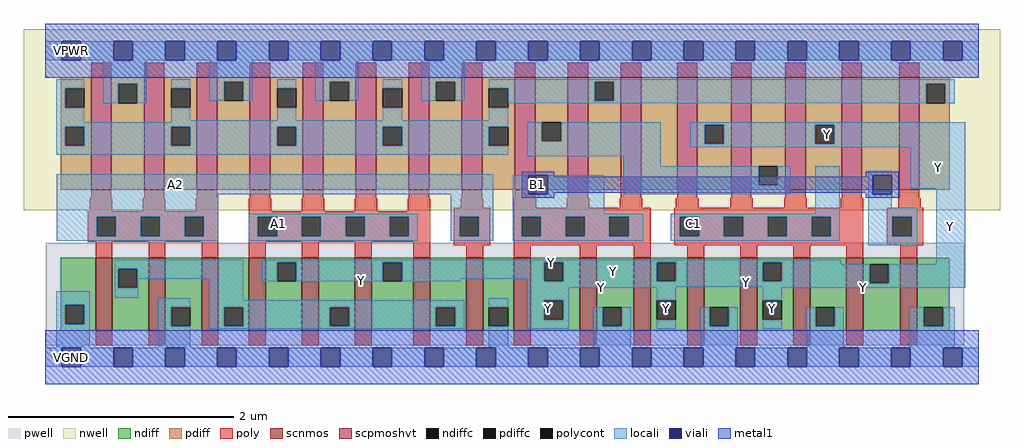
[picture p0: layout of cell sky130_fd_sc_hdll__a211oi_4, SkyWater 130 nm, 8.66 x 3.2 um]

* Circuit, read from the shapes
.subckt sky130_fd_sc_hdll__a211oi_4 A1 A2 B1 C1 VGND VNB VPB VPWR Y
XM1 n1 A2 VGND VNB sky130_fd_pr__nfet_01v8 w=0.65 l=0.15 m=4
XM2 Y A1 n1 VNB sky130_fd_pr__nfet_01v8 w=0.65 l=0.15 m=4
XM3 Y B1 VGND VNB sky130_fd_pr__nfet_01v8 w=0.65 l=0.15 m=4
XM4 VGND C1 Y VNB sky130_fd_pr__nfet_01v8 w=0.65 l=0.15 m=4
XM5 VPWR A2 n2 VPB sky130_fd_pr__pfet_01v8_hvt w=1 l=0.18 m=4
XM6 n2 A1 VPWR VPB sky130_fd_pr__pfet_01v8_hvt w=1 l=0.18 m=4
XM7 n3 B1 n2 VPB sky130_fd_pr__pfet_01v8_hvt w=1 l=0.18 m=2
XM8 n4 B1 n2 VPB sky130_fd_pr__pfet_01v8_hvt w=1 l=0.18
XM9 Y C1 n4 VPB sky130_fd_pr__pfet_01v8_hvt w=1 l=0.18
XM10 n3 C1 Y VPB sky130_fd_pr__pfet_01v8_hvt w=1 l=0.18 m=2
XM11 n5 C1 Y VPB sky130_fd_pr__pfet_01v8_hvt w=1 l=0.18
XM12 n2 B1 n5 VPB sky130_fd_pr__pfet_01v8_hvt w=1 l=0.18
.ends

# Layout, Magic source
magic
tech sky130A
magscale 1 2
<< nwell >>
rect -38 261 1694 582
<< pwell >>
rect 1 21 1631 203
rect 30 -17 64 21
<< scnmos >>
rect 89 47 119 177
rect 183 47 213 177
rect 277 47 307 177
rect 361 47 391 177
rect 455 47 485 177
rect 549 47 579 177
rect 653 47 683 177
rect 747 47 777 177
rect 831 47 861 177
rect 948 47 978 177
rect 1044 47 1074 177
rect 1139 47 1169 177
rect 1233 47 1263 177
rect 1327 47 1357 177
rect 1421 47 1451 177
rect 1517 47 1547 177
<< scpmoshvt >>
rect 81 297 117 497
rect 175 297 211 497
rect 269 297 305 497
rect 363 297 399 497
rect 457 297 493 497
rect 551 297 587 497
rect 645 297 681 497
rect 739 297 775 497
rect 833 297 869 497
rect 927 297 963 497
rect 1021 297 1057 497
rect 1121 297 1157 497
rect 1217 297 1253 497
rect 1313 297 1349 497
rect 1413 297 1449 497
rect 1515 297 1551 497
<< ndiff >>
rect 27 93 89 177
rect 27 59 35 93
rect 69 59 89 93
rect 27 47 89 59
rect 119 157 183 177
rect 119 123 129 157
rect 163 123 183 157
rect 119 47 183 123
rect 213 89 277 177
rect 213 55 223 89
rect 257 55 277 89
rect 213 47 277 55
rect 307 89 361 177
rect 307 55 317 89
rect 351 55 361 89
rect 307 47 361 55
rect 391 169 455 177
rect 391 135 411 169
rect 445 135 455 169
rect 391 47 455 135
rect 485 89 549 177
rect 485 55 505 89
rect 539 55 549 89
rect 485 47 549 55
rect 579 169 653 177
rect 579 135 599 169
rect 633 135 653 169
rect 579 47 653 135
rect 683 89 747 177
rect 683 55 693 89
rect 727 55 747 89
rect 683 47 747 55
rect 777 89 831 177
rect 777 55 787 89
rect 821 55 831 89
rect 777 47 831 55
rect 861 169 948 177
rect 861 135 885 169
rect 919 135 948 169
rect 861 101 948 135
rect 861 67 885 101
rect 919 67 948 101
rect 861 47 948 67
rect 978 89 1044 177
rect 978 55 989 89
rect 1023 55 1044 89
rect 978 47 1044 55
rect 1074 169 1139 177
rect 1074 135 1085 169
rect 1119 135 1139 169
rect 1074 101 1139 135
rect 1074 67 1085 101
rect 1119 67 1139 101
rect 1074 47 1139 67
rect 1169 89 1233 177
rect 1169 55 1179 89
rect 1213 55 1233 89
rect 1169 47 1233 55
rect 1263 169 1327 177
rect 1263 135 1273 169
rect 1307 135 1327 169
rect 1263 101 1327 135
rect 1263 67 1273 101
rect 1307 67 1327 101
rect 1263 47 1327 67
rect 1357 89 1421 177
rect 1357 55 1367 89
rect 1401 55 1421 89
rect 1357 47 1421 55
rect 1451 165 1517 177
rect 1451 131 1463 165
rect 1497 131 1517 165
rect 1451 47 1517 131
rect 1547 89 1605 177
rect 1547 55 1559 89
rect 1593 55 1605 89
rect 1547 47 1605 55
<< pdiff >>
rect 27 477 81 497
rect 27 443 35 477
rect 69 443 81 477
rect 27 409 81 443
rect 27 375 35 409
rect 69 375 81 409
rect 27 297 81 375
rect 117 485 175 497
rect 117 451 129 485
rect 163 451 175 485
rect 117 297 175 451
rect 211 477 269 497
rect 211 443 223 477
rect 257 443 269 477
rect 211 409 269 443
rect 211 375 223 409
rect 257 375 269 409
rect 211 297 269 375
rect 305 489 363 497
rect 305 455 317 489
rect 351 455 363 489
rect 305 297 363 455
rect 399 477 457 497
rect 399 443 411 477
rect 445 443 457 477
rect 399 409 457 443
rect 399 375 411 409
rect 445 375 457 409
rect 399 297 457 375
rect 493 489 551 497
rect 493 455 505 489
rect 539 455 551 489
rect 493 297 551 455
rect 587 477 645 497
rect 587 443 599 477
rect 633 443 645 477
rect 587 409 645 443
rect 587 375 599 409
rect 633 375 645 409
rect 587 297 645 375
rect 681 489 739 497
rect 681 455 693 489
rect 727 455 739 489
rect 681 297 739 455
rect 775 477 833 497
rect 775 443 787 477
rect 821 443 833 477
rect 775 409 833 443
rect 775 375 787 409
rect 821 375 833 409
rect 775 297 833 375
rect 869 417 927 497
rect 869 383 881 417
rect 915 383 927 417
rect 869 297 927 383
rect 963 489 1021 497
rect 963 455 975 489
rect 1009 455 1021 489
rect 963 297 1021 455
rect 1057 297 1121 497
rect 1157 413 1217 497
rect 1157 379 1170 413
rect 1204 379 1217 413
rect 1157 297 1217 379
rect 1253 339 1313 497
rect 1253 305 1266 339
rect 1300 305 1313 339
rect 1253 297 1313 305
rect 1349 413 1413 497
rect 1349 379 1366 413
rect 1400 379 1413 413
rect 1349 297 1413 379
rect 1449 297 1515 497
rect 1551 485 1605 497
rect 1551 451 1563 485
rect 1597 451 1605 485
rect 1551 297 1605 451
<< ndiffc >>
rect 35 59 69 93
rect 129 123 163 157
rect 223 55 257 89
rect 317 55 351 89
rect 411 135 445 169
rect 505 55 539 89
rect 599 135 633 169
rect 693 55 727 89
rect 787 55 821 89
rect 885 135 919 169
rect 885 67 919 101
rect 989 55 1023 89
rect 1085 135 1119 169
rect 1085 67 1119 101
rect 1179 55 1213 89
rect 1273 135 1307 169
rect 1273 67 1307 101
rect 1367 55 1401 89
rect 1463 131 1497 165
rect 1559 55 1593 89
<< pdiffc >>
rect 35 443 69 477
rect 35 375 69 409
rect 129 451 163 485
rect 223 443 257 477
rect 223 375 257 409
rect 317 455 351 489
rect 411 443 445 477
rect 411 375 445 409
rect 505 455 539 489
rect 599 443 633 477
rect 599 375 633 409
rect 693 455 727 489
rect 787 443 821 477
rect 787 375 821 409
rect 881 383 915 417
rect 975 455 1009 489
rect 1170 379 1204 413
rect 1266 305 1300 339
rect 1366 379 1400 413
rect 1563 451 1597 485
<< poly >>
rect 81 497 117 523
rect 175 497 211 523
rect 269 497 305 523
rect 363 497 399 523
rect 457 497 493 523
rect 551 497 587 523
rect 645 497 681 523
rect 739 497 775 523
rect 833 497 869 523
rect 927 497 963 523
rect 1021 497 1057 523
rect 1121 497 1157 523
rect 1217 497 1253 523
rect 1313 497 1349 523
rect 1413 497 1449 523
rect 1515 497 1551 523
rect 81 282 117 297
rect 175 282 211 297
rect 269 282 305 297
rect 363 282 399 297
rect 457 282 493 297
rect 551 282 587 297
rect 645 282 681 297
rect 739 282 775 297
rect 833 282 869 297
rect 927 282 963 297
rect 1021 282 1057 297
rect 1121 282 1157 297
rect 1217 282 1253 297
rect 1313 282 1349 297
rect 1413 282 1449 297
rect 1515 282 1551 297
rect 79 259 119 282
rect 173 259 213 282
rect 267 259 307 282
rect 75 249 307 259
rect 75 215 91 249
rect 125 215 169 249
rect 203 215 247 249
rect 281 215 307 249
rect 75 205 307 215
rect 89 177 119 205
rect 183 177 213 205
rect 277 177 307 205
rect 361 259 401 282
rect 455 259 495 282
rect 549 259 589 282
rect 643 259 683 282
rect 737 265 777 282
rect 831 265 871 282
rect 925 265 965 282
rect 1019 265 1059 282
rect 1119 265 1159 282
rect 1215 265 1255 282
rect 1311 265 1351 282
rect 1411 265 1451 282
rect 1513 265 1553 282
rect 361 249 683 259
rect 361 215 377 249
rect 411 215 455 249
rect 489 215 533 249
rect 567 215 611 249
rect 645 215 683 249
rect 361 205 683 215
rect 361 177 391 205
rect 455 177 485 205
rect 549 177 579 205
rect 653 177 683 205
rect 725 249 789 265
rect 725 215 735 249
rect 769 215 789 249
rect 725 199 789 215
rect 831 249 1074 265
rect 831 215 845 249
rect 879 215 923 249
rect 957 215 1001 249
rect 1035 215 1074 249
rect 831 199 1074 215
rect 1116 249 1451 265
rect 1116 215 1126 249
rect 1160 215 1204 249
rect 1238 215 1282 249
rect 1316 215 1360 249
rect 1394 215 1451 249
rect 1116 199 1451 215
rect 1493 249 1558 265
rect 1493 215 1503 249
rect 1537 215 1558 249
rect 1493 199 1558 215
rect 747 177 777 199
rect 831 177 861 199
rect 948 177 978 199
rect 1044 177 1074 199
rect 1139 177 1169 199
rect 1233 177 1263 199
rect 1327 177 1357 199
rect 1421 177 1451 199
rect 1517 177 1547 199
rect 89 21 119 47
rect 183 21 213 47
rect 277 21 307 47
rect 361 21 391 47
rect 455 21 485 47
rect 549 21 579 47
rect 653 21 683 47
rect 747 21 777 47
rect 831 21 861 47
rect 948 21 978 47
rect 1044 21 1074 47
rect 1139 21 1169 47
rect 1233 21 1263 47
rect 1327 21 1357 47
rect 1421 21 1451 47
rect 1517 21 1547 47
<< polycont >>
rect 91 215 125 249
rect 169 215 203 249
rect 247 215 281 249
rect 377 215 411 249
rect 455 215 489 249
rect 533 215 567 249
rect 611 215 645 249
rect 735 215 769 249
rect 845 215 879 249
rect 923 215 957 249
rect 1001 215 1035 249
rect 1126 215 1160 249
rect 1204 215 1238 249
rect 1282 215 1316 249
rect 1360 215 1394 249
rect 1503 215 1537 249
<< locali >>
rect 0 527 29 561
rect 63 527 121 561
rect 155 527 213 561
rect 247 527 305 561
rect 339 527 397 561
rect 431 527 489 561
rect 523 527 581 561
rect 615 527 673 561
rect 707 527 765 561
rect 799 527 857 561
rect 891 527 949 561
rect 983 527 1041 561
rect 1075 527 1133 561
rect 1167 527 1225 561
rect 1259 527 1317 561
rect 1351 527 1409 561
rect 1443 527 1501 561
rect 1535 527 1593 561
rect 1627 527 1656 561
rect 19 477 69 493
rect 19 443 35 477
rect 103 485 179 527
rect 103 451 129 485
rect 163 451 179 485
rect 223 477 257 493
rect 19 417 69 443
rect 291 489 367 527
rect 291 455 317 489
rect 351 455 367 489
rect 411 477 445 493
rect 223 421 257 443
rect 479 489 555 527
rect 479 455 505 489
rect 539 455 555 489
rect 599 477 633 493
rect 411 421 445 443
rect 667 489 743 527
rect 667 455 693 489
rect 727 455 743 489
rect 787 489 1614 493
rect 787 477 975 489
rect 599 421 633 443
rect 821 455 975 477
rect 1009 485 1614 489
rect 1009 455 1563 485
rect 821 451 1563 455
rect 1597 451 1614 485
rect 787 421 821 443
rect 223 417 821 421
rect 19 409 821 417
rect 19 375 35 409
rect 69 375 223 409
rect 257 375 411 409
rect 445 375 599 409
rect 633 375 787 409
rect 19 359 821 375
rect 855 383 881 417
rect 915 383 1092 417
rect 855 357 1092 383
rect 1144 413 1632 417
rect 1144 379 1170 413
rect 1204 379 1366 413
rect 1400 379 1632 413
rect 1144 373 1632 379
rect 1026 339 1092 357
rect 20 289 795 325
rect 20 249 307 289
rect 20 215 91 249
rect 125 215 169 249
rect 203 215 247 249
rect 281 215 307 249
rect 20 207 307 215
rect 361 249 661 255
rect 361 215 377 249
rect 411 215 455 249
rect 489 215 533 249
rect 567 215 611 249
rect 645 215 661 249
rect 361 207 661 215
rect 719 249 795 289
rect 719 215 735 249
rect 769 215 795 249
rect 719 207 795 215
rect 829 289 857 323
rect 891 289 992 323
rect 1026 305 1266 339
rect 1300 305 1322 339
rect 1026 289 1322 305
rect 829 255 992 289
rect 1366 255 1410 339
rect 829 249 1061 255
rect 829 215 845 249
rect 879 215 923 249
rect 957 215 1001 249
rect 1035 215 1061 249
rect 829 207 1061 215
rect 1110 249 1410 255
rect 1110 215 1126 249
rect 1160 215 1204 249
rect 1238 215 1282 249
rect 1316 215 1360 249
rect 1394 215 1410 249
rect 1110 207 1410 215
rect 1460 323 1502 331
rect 1460 289 1468 323
rect 1536 299 1632 373
rect 1460 265 1502 289
rect 1460 249 1547 265
rect 1460 215 1503 249
rect 1537 215 1547 249
rect 1460 199 1547 215
rect 123 157 351 173
rect 123 123 129 157
rect 163 139 351 157
rect 163 123 165 139
rect 19 93 79 117
rect 123 106 165 123
rect 19 59 35 93
rect 69 59 79 93
rect 19 17 79 59
rect 200 89 257 105
rect 200 55 223 89
rect 200 17 257 55
rect 291 101 351 139
rect 385 169 1411 173
rect 385 135 411 169
rect 445 135 599 169
rect 633 139 885 169
rect 633 135 736 139
rect 855 135 885 139
rect 919 135 1085 169
rect 1119 135 1273 169
rect 1307 165 1411 169
rect 1581 165 1632 299
rect 1307 135 1463 165
rect 855 131 1463 135
rect 1497 131 1632 165
rect 855 125 1632 131
rect 855 123 1119 125
rect 291 89 743 101
rect 291 55 317 89
rect 351 55 505 89
rect 539 55 693 89
rect 727 55 743 89
rect 291 51 743 55
rect 787 89 821 105
rect 787 17 821 55
rect 855 101 929 123
rect 855 67 885 101
rect 919 67 929 101
rect 1085 101 1119 123
rect 855 51 929 67
rect 973 55 989 89
rect 1023 55 1039 89
rect 973 17 1039 55
rect 1273 123 1632 125
rect 1273 101 1307 123
rect 1085 51 1119 67
rect 1163 55 1179 89
rect 1213 55 1229 89
rect 1163 17 1229 55
rect 1273 51 1307 67
rect 1351 55 1367 89
rect 1401 55 1417 89
rect 1351 17 1417 55
rect 1533 55 1559 89
rect 1593 55 1614 89
rect 1533 17 1614 55
rect 0 -17 29 17
rect 63 -17 121 17
rect 155 -17 213 17
rect 247 -17 305 17
rect 339 -17 397 17
rect 431 -17 489 17
rect 523 -17 581 17
rect 615 -17 673 17
rect 707 -17 765 17
rect 799 -17 857 17
rect 891 -17 949 17
rect 983 -17 1041 17
rect 1075 -17 1133 17
rect 1167 -17 1225 17
rect 1259 -17 1317 17
rect 1351 -17 1409 17
rect 1443 -17 1501 17
rect 1535 -17 1593 17
rect 1627 -17 1656 17
<< viali >>
rect 29 527 63 561
rect 121 527 155 561
rect 213 527 247 561
rect 305 527 339 561
rect 397 527 431 561
rect 489 527 523 561
rect 581 527 615 561
rect 673 527 707 561
rect 765 527 799 561
rect 857 527 891 561
rect 949 527 983 561
rect 1041 527 1075 561
rect 1133 527 1167 561
rect 1225 527 1259 561
rect 1317 527 1351 561
rect 1409 527 1443 561
rect 1501 527 1535 561
rect 1593 527 1627 561
rect 857 289 891 323
rect 1468 289 1502 323
rect 29 -17 63 17
rect 121 -17 155 17
rect 213 -17 247 17
rect 305 -17 339 17
rect 397 -17 431 17
rect 489 -17 523 17
rect 581 -17 615 17
rect 673 -17 707 17
rect 765 -17 799 17
rect 857 -17 891 17
rect 949 -17 983 17
rect 1041 -17 1075 17
rect 1133 -17 1167 17
rect 1225 -17 1259 17
rect 1317 -17 1351 17
rect 1409 -17 1443 17
rect 1501 -17 1535 17
rect 1593 -17 1627 17
<< metal1 >>
rect 0 561 1656 592
rect 0 527 29 561
rect 63 527 121 561
rect 155 527 213 561
rect 247 527 305 561
rect 339 527 397 561
rect 431 527 489 561
rect 523 527 581 561
rect 615 527 673 561
rect 707 527 765 561
rect 799 527 857 561
rect 891 527 949 561
rect 983 527 1041 561
rect 1075 527 1133 561
rect 1167 527 1225 561
rect 1259 527 1317 561
rect 1351 527 1409 561
rect 1443 527 1501 561
rect 1535 527 1593 561
rect 1627 527 1656 561
rect 0 496 1656 527
rect 845 323 903 329
rect 845 289 857 323
rect 891 320 903 323
rect 1456 323 1514 329
rect 1456 320 1468 323
rect 891 292 1468 320
rect 891 289 903 292
rect 845 283 903 289
rect 1456 289 1468 292
rect 1502 289 1514 323
rect 1456 283 1514 289
rect 0 17 1656 48
rect 0 -17 29 17
rect 63 -17 121 17
rect 155 -17 213 17
rect 247 -17 305 17
rect 339 -17 397 17
rect 431 -17 489 17
rect 523 -17 581 17
rect 615 -17 673 17
rect 707 -17 765 17
rect 799 -17 857 17
rect 891 -17 949 17
rect 983 -17 1041 17
rect 1075 -17 1133 17
rect 1167 -17 1225 17
rect 1259 -17 1317 17
rect 1351 -17 1409 17
rect 1443 -17 1501 17
rect 1535 -17 1593 17
rect 1627 -17 1656 17
rect 0 -48 1656 -17
<< labels >>
flabel locali s 214 289 248 323 0 FreeSans 340 0 0 0 A2
port 2 nsew signal input
flabel locali s 397 221 431 255 0 FreeSans 340 0 0 0 A1
port 1 nsew signal input
flabel locali s 1133 221 1167 255 0 FreeSans 340 0 0 0 C1
port 4 nsew signal input
flabel locali s 1581 165 1632 299 0 FreeSans 340 0 0 0 Y
port 9 nsew signal output
flabel metal1 s 857 289 891 323 0 FreeSans 400 0 0 0 B1
port 3 nsew signal input
flabel metal1 s 30 527 64 561 0 FreeSans 200 0 0 0 VPWR
port 8 nsew power bidirectional
flabel metal1 s 30 -17 64 17 0 FreeSans 200 0 0 0 VGND
port 5 nsew ground bidirectional
flabel pwell s 30 -17 64 17 0 FreeSans 200 0 0 0 VNB
port 6 nsew ground bidirectional
flabel nwell s 30 527 64 561 0 FreeSans 200 0 0 0 VPB
port 7 nsew power bidirectional
rlabel locali s 1536 299 1632 373 1 Y
port 9 nsew signal output
rlabel locali s 1273 123 1632 125 1 Y
port 9 nsew signal output
rlabel locali s 1273 51 1307 123 1 Y
port 9 nsew signal output
rlabel locali s 1144 373 1632 417 1 Y
port 9 nsew signal output
rlabel locali s 1085 51 1119 123 1 Y
port 9 nsew signal output
rlabel locali s 855 125 1632 139 1 Y
port 9 nsew signal output
rlabel locali s 855 123 1119 125 1 Y
port 9 nsew signal output
rlabel locali s 855 51 929 123 1 Y
port 9 nsew signal output
rlabel locali s 385 165 1411 173 1 Y
port 9 nsew signal output
rlabel locali s 385 139 1632 165 1 Y
port 9 nsew signal output
rlabel locali s 385 135 736 139 1 Y
port 9 nsew signal output
<< properties >>
string LEFsite unithd
string LEFclass CORE
string FIXED_BBOX 0 0 1656 544
string GDS_FILE $PDKPATH/libs.ref/sky130_fd_sc_hdll/gds/sky130_fd_sc_hdll.gds
string LEFsymmetry X Y R90
string GDS_END 297528
string GDS_START 286254
string LEFproperties maskLayoutSubType "abstract" prCellType "standard" originalViewName "layout"
<< end >>
